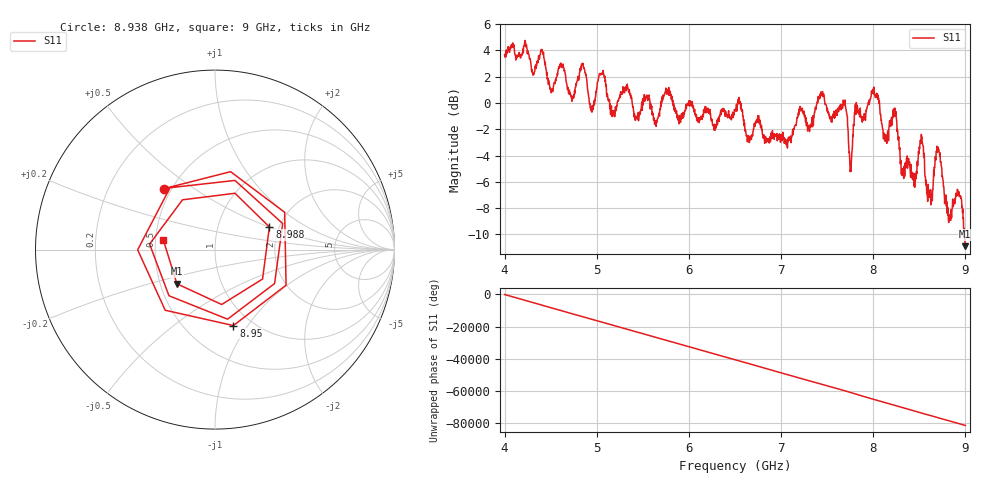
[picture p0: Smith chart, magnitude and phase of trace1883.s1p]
! Created with skrf 1.8.0 (http://scikit-rf.org).
# Hz S RI R 50.0
!freq ReS11 ImS11
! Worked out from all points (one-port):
!   1601 points, 4 GHz to 9 GHz, reference 50 ohm
!   lowest |S11| = -10.9 dB at 8.997 GHz (marker M1), VSWR 1.80, Z = 30.5 - j12.7 ohm
!   |S11| at or under -10 dB: 8.990152 GHz to end of sweep
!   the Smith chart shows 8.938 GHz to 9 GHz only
!   S11 on the Smith chart (normalised r, x): 8.938 GHz: 0.46, +0.39; 8.95 GHz: 0.82, -0.86; 8.988 GHz: 1.78, +0.50; 9 GHz: 0.55, +0.06
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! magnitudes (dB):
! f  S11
! 4 GHz  3.7
! 4.406 GHz  4.1
! 4.506 GHz  0.8
! 4.625 GHz  2.9
! 4.731 GHz  0.1
! 4.853 GHz  2.9
! 4.944 GHz  -0.3
! 5.05 GHz  2.2
! 5.172 GHz  -1.0
! 5.25 GHz  0.6
! 5.875 GHz  -0.9
! 6.5 GHz  -0.6
! 7.125 GHz  -2.0
! 7.444 GHz  0.6
! 7.694 GHz  0.2
! 7.75 GHz  -5.2
! 7.812 GHz  -0.9
! 8.003 GHz  1.0
! 8.375 GHz  -4.3
! 8.528 GHz  -2.6
! 8.616 GHz  -7.2
! 8.7 GHz  -3.5
! 8.825 GHz  -8.8
! 8.938 GHz  -7.1
! 8.95 GHz  -7.2
! 8.988 GHz  -9.7
! 8.997 GHz  -10.9
! 9 GHz  -10.7
